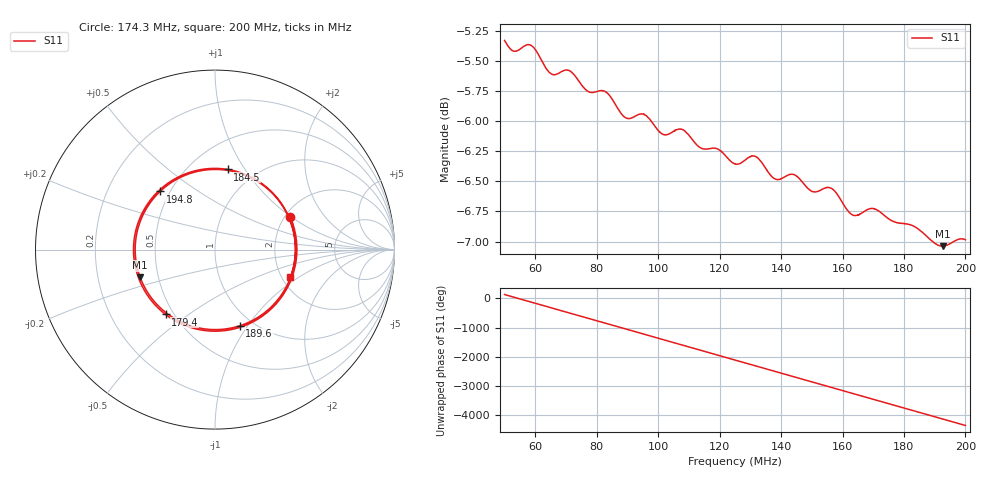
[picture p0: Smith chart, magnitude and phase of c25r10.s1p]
! COPPER MOUNTAIN TECHNOLOGIES, PLANAR TR1300/1, 00071119, 20.2.2/1.0
! Date: 11/21/2023 6:48:31 PM
! Data: Format [Calibration Info]
! Freq  S11: Re/Im F1
# HZ S RI R 50
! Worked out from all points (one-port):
!   12288 points, 50 MHz to 200 MHz, reference 50 ohm
!   lowest |S11| = -7.0 dB at 192.6 MHz (marker M1), VSWR 2.60, Z = 19.7 - j7.61 ohm
!   |S11| at or under -10 dB: nowhere
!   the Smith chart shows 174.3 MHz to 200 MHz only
!   S11 on the Smith chart (normalised r, x): 174.3 MHz: 2.13, +0.99; 179.4 MHz: 0.45, -0.41; 184.5 MHz: 0.75, +0.84; 189.6 MHz: 0.87, -0.92; 194.8 MHz: 0.44, +0.36; 200 MHz: 2.22, -0.85
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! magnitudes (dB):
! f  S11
! 50 MHz  -5.3
! 53.16 MHz  -5.4
! 58.55 MHz  -5.4
! 64.75 MHz  -5.6
! 68.75 MHz  -5.6
! 77.33 MHz  -5.8
! 83.01 MHz  -5.8
! 87.5 MHz  -5.9
! 95.62 MHz  -5.9
! 101.8 MHz  -6.1
! 106.3 MHz  -6.1
! 125 MHz  -6.4
! 131.2 MHz  -6.3
! 138 MHz  -6.5
! 143.8 MHz  -6.4
! 150.2 MHz  -6.6
! 156.6 MHz  -6.6
! 162.5 MHz  -6.8
! 169.9 MHz  -6.7
! 174.3 MHz  -6.8
! 179.4 MHz  -6.8
! 181.3 MHz  -6.9
! 184.5 MHz  -6.9
! 189.6 MHz  -7.0
! 192.6 MHz  -7.0
! 194.8 MHz  -7.0
! 200 MHz  -7.0
! 200 MHz  -7.0
